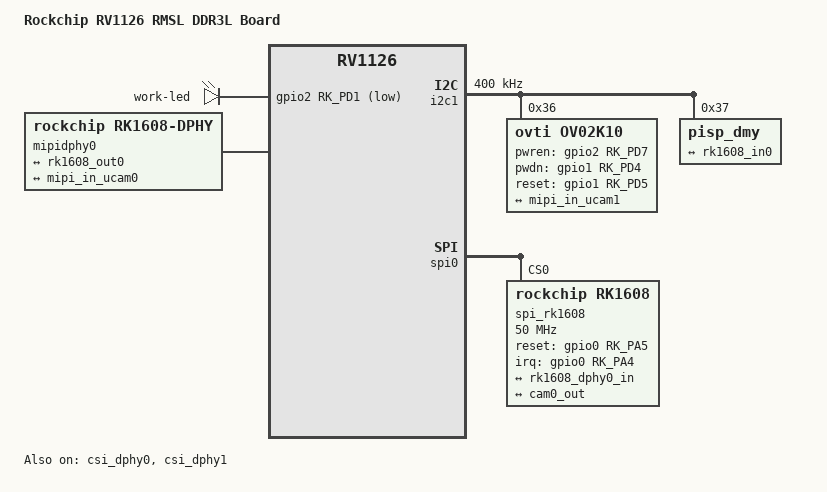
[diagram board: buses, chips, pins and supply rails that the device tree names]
// SPDX-License-Identifier: (GPL-2.0+ OR MIT)
/*
 * Copyright (c) 2020 Rockchip Electronics Co., Ltd.
 */

/dts-v1/;
#include "rv1126.dtsi"
#include "rv1126-rmsl.dtsi"
#include <dt-bindings/display/media-bus-format.h>

#define LINK_FREQ               400000000

/ {
	model = "Rockchip RV1126 RMSL DDR3L Board";
	compatible = "rockchip,rv1126-rmsl-ddr3L-v1", "rockchip,rv1126";

	chosen {
		bootargs = "earlycon=uart8250,mmio32,0xff570000 console=ttyFIQ0 root=PARTUUID=614e0000-0000 rootfstype=ext4 rootwait snd_aloop.index=7";
	};

	gpio-leds {
		compatible = "gpio-leds";

		work-led {
			gpios = <&gpio2 RK_PD1 GPIO_ACTIVE_LOW>;
			linux,default-trigger = "timer";
		};
	};

	mipidphy0: mipidphy0 {
	compatible =  "rockchip,rk1608-dphy";
		status = "okay";
		rockchip,grf = <&grf>;
		id = <0>;

		cam_nums = <1>;
		in_mipi = <0>;
		out_mipi = <0>;
		link-freqs = /bits/ 64 <LINK_FREQ>;

		sensor_i2c_bus = <0>;
		sensor_i2c_addr = <0xC0>;
		sensor-name = "OV9282";

		rockchip,camera-module-index = <0>;
		rockchip,camera-module-facing = "back";
		rockchip,camera-module-name = "TongJu";
		rockchip,camera-module-lens-name = "CHT842-MD";

		format-config-0 {
			data_type = <0x2b>;
			mipi_lane = <2>;
			field = <1>;
			colorspace = <8>;
			code = <MEDIA_BUS_FMT_SBGGR10_1X10>;
			width = <2560>;
			height= <1000>;
			hactive = <2560>;
			vactive = <1000>;
			htotal = <3000>;
			vtotal = <1400>;
			inch0-info = <1280 800 0x2b 0x2b 1>;
			outch0-info = <2560 1000 0x2b 0x2b 1>;
		};

		ports {
			#address-cells = <1>;
			#size-cells = <0>;

			port@0 {
				rk1608_dphy0_in: endpoint {
					remote-endpoint = <&rk1608_out0>;
					data-lanes = <1 2>;
				};
			};
			port@1 {
				rk1608_dphy0_out: endpoint {
					remote-endpoint = <&mipi_in_ucam0>;
					clock-lanes = <0>;
					data-lanes = <1 2>;
					clock-noncontinuous;
					link-freqs = /bits/ 64 <LINK_FREQ>;
				};
			};
		};
	};
};

&csi_dphy0 {
	status = "okay";

	ports {
		#address-cells = <1>;
		#size-cells = <0>;
		port@0 {
			reg = <0>;
			#address-cells = <1>;
			#size-cells = <0>;

			mipi_in_ucam0: endpoint@1 {
				reg = <1>;
				remote-endpoint = <&rk1608_dphy0_out>;
				data-lanes = <1 2>;
			};
		};
		port@1 {
			reg = <1>;
			#address-cells = <1>;
			#size-cells = <0>;

			csidphy0_out: endpoint@0 {
				reg = <0>;
				remote-endpoint = <&mipi_csi2_input>;
				data-lanes = <1 2>;
			};
		};
	};
};

&csi_dphy1 {
	status = "okay";

	ports {
		#address-cells = <1>;
		#size-cells = <0>;

		port@0 {
			reg = <0>;
			#address-cells = <1>;
			#size-cells = <0>;

			mipi_in_ucam1: endpoint@1 {
				reg = <1>;
				remote-endpoint = <&ucam_out1>;
				data-lanes = <1 2>;
			};
		};

		port@1 {
			reg = <1>;
			#address-cells = <1>;
			#size-cells = <0>;

			csidphy1_out: endpoint@0 {
				reg = <0>;
				remote-endpoint = <&isp_in>;
				data-lanes = <1 2>;
			};
		};
	};
};

&i2c1 {
	status = "okay";
	clock-frequency = <400000>;

	ov02k10: ov02k10@36 {
		compatible = "ovti,ov02k10";
		reg = <0x36>;
		clocks = <&cru CLK_MIPICSI_OUT>;
		clock-names = "xvclk";
		power-domains = <&power RV1126_PD_VI>;
		pinctrl-names = "rockchip,camera_default";
		pinctrl-0 = <&mipicsi_clk0>;
		pwren-gpios= <&gpio2 RK_PD7 GPIO_ACTIVE_HIGH>;
		pwdn-gpios = <&gpio1 RK_PD4 GPIO_ACTIVE_HIGH>;
		reset-gpios = <&gpio1 RK_PD5 GPIO_ACTIVE_HIGH>;
		rockchip,camera-module-index = <1>;
		rockchip,camera-module-facing = "front";
		rockchip,camera-module-name = "ORCF-0249-00-PD-V1";
		rockchip,camera-module-lens-name = "xuye";
		// NO_HDR:0 HDR_X2:5 HDR_X3:6
		rockchip,camera-hdr-mode = <0>;
		port {
			ucam_out1: endpoint {
				remote-endpoint = <&mipi_in_ucam1>;
				data-lanes = <1 2>;
			};
		};
	};

		pisp_dmy: pisp_dmy@37 {
		compatible = "pisp_dmy";
		reg = <0x37>;

		clocks = <&pmucru CLK_WIFI>;
		clock-names = "xvclk";

		rockchip,camera-module-index = <0>;
		rockchip,camera-module-facing = "back";
		rockchip,camera-module-name = "TongJu";
		rockchip,camera-module-lens-name = "CHT842-MD";

		port {
			cam0_out: endpoint {
				remote-endpoint = <&rk1608_in0>;
				data-lanes = <1 2>;
			};
		};
	};
};

&spi0 {
	status = "okay";
	//assigned-clocks = <&cru SCLK_SPI0>;
	//assigned-clock-rates = <100000000>;
	//rx-sample-delay-ns = <10>;
	//dma-names = "tx", "rx";
	pinctrl-names = "default", "high_speed";
	pinctrl-0 = <&spi0m1_cs0 &spi1m0_pins>;
	pinctrl-1 = <&spi0m1_cs0 &spi1m0_pins_hs>;

	spi_rk1608@00 {
		compatible =  "rockchip,rk1608";
		status = "okay";
		reg = <0>;
		spi-max-frequency = <50000000>;
		spi-min-frequency = <16000000>;

		clocks = <&pmucru CLK_WIFI>;
		clock-names = "mclk";

		firmware-names = "rk1608.rkl";

		reset-gpios = <&gpio0 RK_PA5 GPIO_ACTIVE_HIGH>; //
		irq-gpios = <&gpio0 RK_PA4 GPIO_ACTIVE_HIGH>; //

		pinctrl-names = "default";
		pinctrl-0 = <&preisp_irq_gpios &preisp_reset_gpios &preisp_24m_mclk>;

		/* regulator config */
		//vdd-core-regulator = "vdd_preisp";
		//vdd-core-microvolt = <1150000>;

		ports {
			#address-cells = <1>;
			#size-cells = <0>;
			port@0 {
				#address-cells = <1>;
				#size-cells = <0>;

				reg = <0>;
				rk1608_out0: endpoint@0 {
					reg = <0>;
					remote-endpoint = <&rk1608_dphy0_in>;
				};
			};

			port@1 {
				#address-cells = <1>;
				#size-cells = <0>;

				reg = <1>;
				rk1608_in0: endpoint@0 {
					reg = <0>;
					remote-endpoint = <&cam0_out>;
				};
			};
		};
	};
};

&pinctrl {
	rk1608_gpios {
		preisp_irq_gpios: preisp-irq-gpios {
			rockchip,pins =
				<0 RK_PA4 0 &pcfg_pull_up>;
		};

		preisp_reset_gpios: preisp-reset-gpios {
			rockchip,pins =
				<0 RK_PA5 0 &pcfg_output_low>;
		};

		preisp_24m_mclk: preisp-24m-mclk {
			rockchip,pins =
				<0 RK_PA0 1 &pcfg_pull_none>;
		};
	};
};
